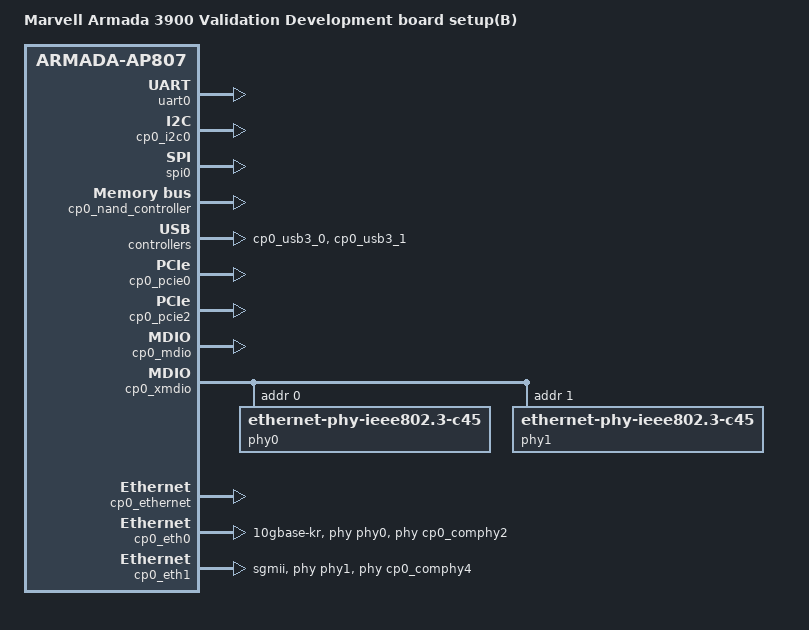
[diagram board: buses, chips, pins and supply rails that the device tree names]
/*
 * Copyright (C) 2018 Marvell Technology Group Ltd.
 *
 * This file is dual-licensed: you can use it either under the terms
 * of the GPLv2 or the X11 license, at your option. Note that this dual
 * licensing only applies to this file, and not this project as a
 * whole.
 *
 *  a) This library is free software; you can redistribute it and/or
 *     modify it under the terms of the GNU General Public License as
 *     published by the Free Software Foundation; either version 2 of the
 *     License, or (at your option) any later version.
 *
 *     This library is distributed in the hope that it will be useful,
 *     but WITHOUT ANY WARRANTY; without even the implied warranty of
 *     MERCHANTABILITY or FITNESS FOR A PARTICULAR PURPOSE.  See the
 *     GNU General Public License for more details.
 *
 * Or, alternatively,
 *
 *  b) Permission is hereby granted, free of charge, to any person
 *     obtaining a copy of this software and associated documentation
 *     files (the "Software"), to deal in the Software without
 *     restriction, including without limitation the rights to use,
 *     copy, modify, merge, publish, distribute, sublicense, and/or
 *     sell copies of the Software, and to permit persons to whom the
 *     Software is furnished to do so, subject to the following
 *     conditions:
 *
 *     The above copyright notice and this permission notice shall be
 *     included in all copies or substantial portions of the Software.
 *
 *     THE SOFTWARE IS PROVIDED "AS IS", WITHOUT WARRANTY OF ANY KIND,
 *     EXPRESS OR IMPLIED, INCLUDING BUT NOT LIMITED TO THE WARRANTIES
 *     OF MERCHANTABILITY, FITNESS FOR A PARTICULAR PURPOSE AND
 *     NONINFRINGEMENT. IN NO EVENT SHALL THE AUTHORS OR COPYRIGHT
 *     HOLDERS BE LIABLE FOR ANY CLAIM, DAMAGES OR OTHER LIABILITY,
 *     WHETHER IN AN ACTION OF CONTRACT, TORT OR OTHERWISE, ARISING
 *     FROM, OUT OF OR IN CONNECTION WITH THE SOFTWARE OR THE USE OR
 *     OTHER DEALINGS IN THE SOFTWARE.
 */

/*
 * Device Tree file for Marvell Armada 3900 validation development board
 * This board file supports "B" configuration of the board
 */

#include <dt-bindings/gpio/gpio.h>
#include "armada-3900-db.dtsi"

/ {
	model = "Marvell Armada 3900 Validation Development board setup(B)";
	compatible = "marvell,armada3900-db-vd",
		     "marvell,armada-ap807-quad", "marvell,armada-ap807";

	chosen {
		stdout-path = "serial0:115200n8";
	};

	aliases {
		ethernet0 = &cp0_eth0;
		ethernet1 = &cp0_eth1;
	};
};

&uart0 {
	status = "okay";
};

&cp0_i2c0 {
	status = "okay";
};

/*
 * cp0_spi1 and cp0_nand_controller have common pins on this board. Hence,
 * only one can be used at a time.
 */
&cp0_spi1 {
	status = "disabled";
};

&spi0 {
	status = "okay";
};

/*
 * cp0_spi1 and cp0_nand_controller have common pins on this board. Hence,
 * only one can be used at a time.
 */
&cp0_nand_controller {
	status = "okay";
};

&cp0_usb3_0 {
	status = "okay";
};

&cp0_usb3_1 {
	status = "okay";
};

&cp0_pcie0 {
	status = "okay";
};

&cp0_pcie2 {
	status = "okay";
};

&cp0_mdio {
	status = "okay";
};

&cp0_xmdio {
	status = "okay";

	phy0: ethernet-phy@0 {
		compatible = "ethernet-phy-ieee802.3-c45";
		reg = <0>;
		enet-phy-lane-swap;
	};

	phy1: ethernet-phy@1 {
		compatible = "ethernet-phy-ieee802.3-c45";
		reg = <1>;
		enet-phy-lane-swap;
	};
};

&cp0_ethernet {
	status = "okay";
};

&cp0_eth0 {
	status = "okay";
	/* Network PHY */
	phy = <&phy0>;
	phy-mode = "10gbase-kr";
	/* Generic PHY, providing serdes lanes */
	phys = <&cp0_comphy2 0>;
};

&cp0_eth1 {
	status = "okay";
	/* Network PHY */
	phy = <&phy1>;
	phy-mode = "sgmii";
	/* Generic PHY, providing serdes lanes */
	phys = <&cp0_comphy4 1>;
};
